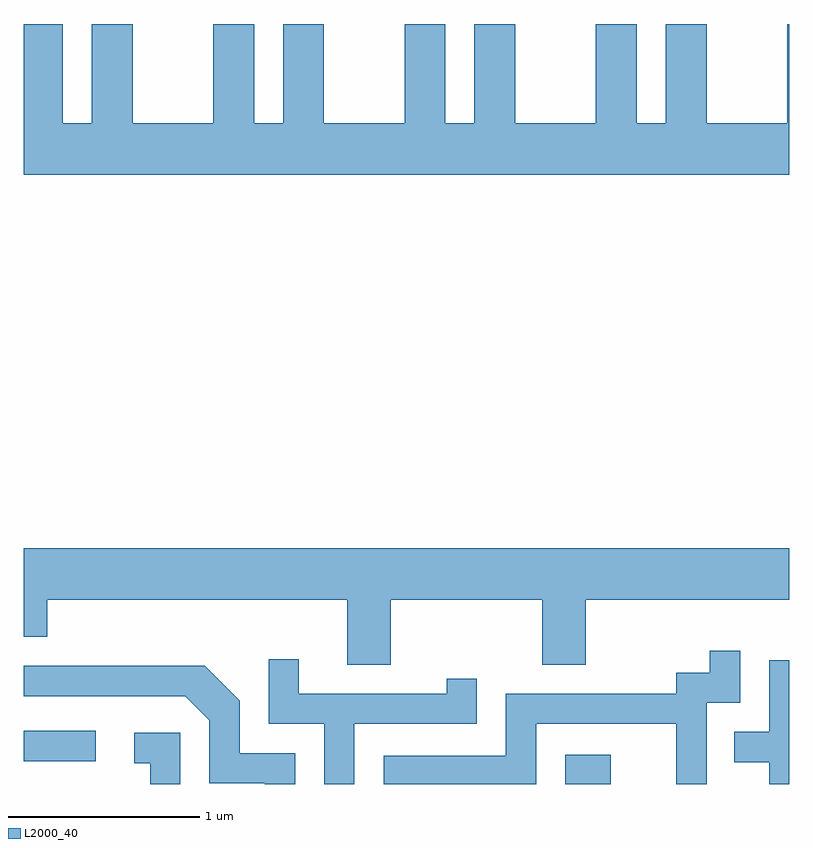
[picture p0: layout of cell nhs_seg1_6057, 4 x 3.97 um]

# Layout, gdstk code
import gdstk
lib = gdstk.Library(unit=1e-6, precision=1e-09)
def R(c, l, rs):  # rectangles x0, y0, x1, y1
    for r in rs: c.add(gdstk.rectangle(r[:2], r[2:], *l))
def P(c, l, *ps):  # polygons
    for p in ps: c.add(gdstk.Polygon(p, *l))
L2000_40 = (2000, 40)

nhs_seg1_6057 = lib.new_cell('nhs_seg1_6057')
R(nhs_seg1_6057, L2000_40, [(370.441,909.712,370.678,909.864), (367.611,909.831,367.988,909.989)])
P(nhs_seg1_6057, L2000_40, [(371.611,913.684),(371.601,913.684),(371.601,913.164),(371.179,913.164),(371.179,913.684),(370.966,913.684),(370.966,913.164),(370.814,913.164),(370.814,913.684),(370.601,913.684),(370.601,913.164),(370.179,913.164),(370.179,913.684),(369.966,913.684),(369.966,913.164),(369.814,913.164),(369.814,913.684),(369.601,913.684),(369.601,913.164),(369.179,913.164),(369.179,913.684),(368.966,913.684),(368.966,913.164),(368.814,913.164),(368.814,913.684),(368.601,913.684),(368.601,913.164),(368.179,913.164),(368.179,913.684),(367.966,913.684),(367.966,913.164),(367.814,913.164),(367.814,913.684),(367.611,913.684),(367.611,912.896),(371.611,912.896)],
  [(369.529,910.676),(370.321,910.676),(370.321,910.336),(370.549,910.336),(370.549,910.676),(371.611,910.676),(371.611,910.944),(367.611,910.944),(367.611,910.481),(367.734,910.481),(367.734,910.676),(369.301,910.676),(369.301,910.336),(369.529,910.336)],
  [(370.289,910.026),(371.021,910.026),(371.021,909.712),(371.179,909.712),(371.179,910.136),(371.354,910.136),(371.354,910.408),(371.196,910.408),(371.196,910.294),(371.021,910.294),(371.021,910.184),(370.131,910.184),(370.131,909.859),(369.491,909.859),(369.491,909.712),(370.289,909.712)],
  [(369.339,910.026),(369.979,910.026),(369.979,910.263),(369.821,910.263),(369.821,910.184),(369.049,910.184),(369.049,910.363),(368.891,910.363),(368.891,910.026),(369.181,910.026),(369.181,909.712),(369.339,909.712)],
  [(371.611,910.359),(371.506,910.359),(371.506,909.984),(371.323,909.984),(371.323,909.826),(371.506,909.826),(371.506,909.712),(371.611,909.712)],
  [(369.029,909.874),(368.739,909.874),(368.739,910.147),(368.557,910.329),(367.611,910.329),(367.611,910.171),(368.454,910.171),(368.581,910.044),(368.581,909.716),(368.871,909.716),(368.871,909.712),(369.029,909.712)],
  [(368.429,909.979),(368.188,909.979),(368.188,909.821),(368.271,909.821),(368.271,909.712),(368.429,909.712)])

lib.write_gds('nhs_seg1_6057.gds')
